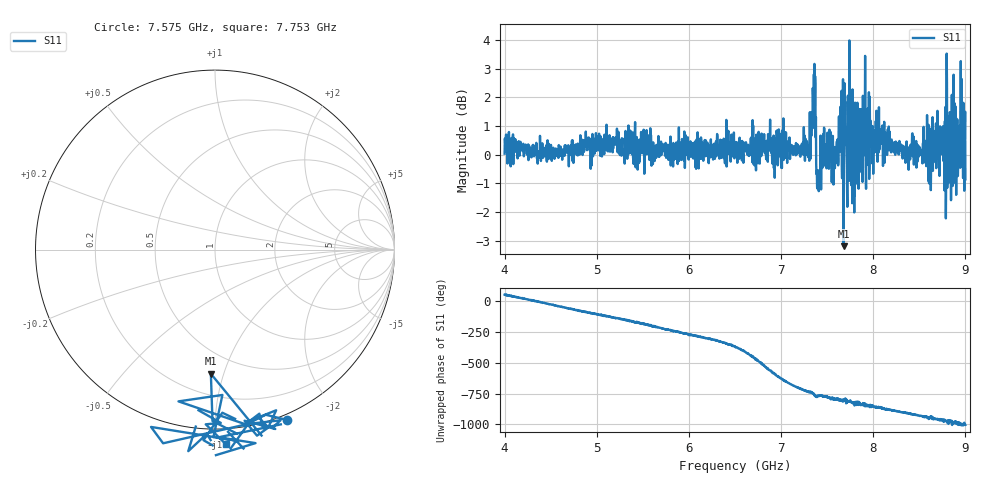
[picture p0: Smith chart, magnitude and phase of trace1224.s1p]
! Created with skrf 1.8.0 (http://scikit-rf.org).
# Hz S RI R 50.0
!freq ReS11 ImS11
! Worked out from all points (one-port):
!   1601 points, 4 GHz to 9 GHz, reference 50 ohm
!   lowest |S11| = -3.2 dB at 7.678 GHz (marker M1), VSWR 5.50, Z = 17.1 - j45.4 ohm
!   |S11| at or under -10 dB: nowhere
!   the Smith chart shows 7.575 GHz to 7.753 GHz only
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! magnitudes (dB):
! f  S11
! 4 GHz  0.0
! 4.625 GHz  -0.2
! 5.25 GHz  0.1
! 5.875 GHz  0.1
! 6.5 GHz  0.3
! 7.125 GHz  0.3
! 7.294 GHz  -0.1
! 7.347 GHz  2.0
! 7.366 GHz  1.4
! 7.409 GHz  -1.3
! 7.481 GHz  -0.4
! 7.575 GHz  0.3
! 7.65 GHz  0.8
! 7.678 GHz  -3.2
! 7.75 GHz  -0.2
! 7.769 GHz  0.1
! 7.891 GHz  0.4
! 8.05 GHz  0.9
! 8.375 GHz  -0.1
! 8.656 GHz  0.6
! 8.766 GHz  0.7
! 8.775 GHz  0.9
! 8.794 GHz  2.0
! 8.816 GHz  -1.0
! 8.838 GHz  -0.2
! 8.919 GHz  -0.7
! 8.959 GHz  2.6
! 9 GHz  -0.9
